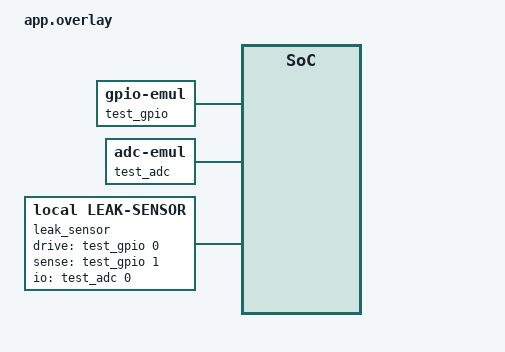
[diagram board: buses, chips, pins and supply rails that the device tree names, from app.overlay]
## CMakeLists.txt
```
# Unit tests for the resistive leak sensor driver (src/sensor/leak.cpp), run on
# native_sim with the emulated ADC/GPIO drivers.
cmake_minimum_required(VERSION 3.20.0)

# Resolve the out-of-tree "local,leak-sensor" binding under hygrometer/dts/bindings.
set(DTS_ROOT ${CMAKE_CURRENT_SOURCE_DIR}/../..)

find_package(Zephyr REQUIRED HINTS $ENV{ZEPHYR_BASE})
project(leak_test)

target_include_directories(app PRIVATE
  ${CMAKE_CURRENT_SOURCE_DIR}/../../src
  ${CMAKE_CURRENT_SOURCE_DIR}/../../src/sensor
)

# Compile the real driver under test (it needs only leak.h / leak_model.h /
# sensor_reading.h — no sensor_reading.cpp).
target_sources(app PRIVATE
  src/main.cpp
  ${CMAKE_CURRENT_SOURCE_DIR}/../../src/sensor/leak.cpp
)
```

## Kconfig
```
# leak.cpp references CONFIG_APP_LEAK_THRESHOLD_MV (normally from hygrometer/Kconfig).
# Provide it here so the driver compiles standalone in the test app.
config APP_LEAK_THRESHOLD_MV
	int
	default 1200

source "Kconfig.zephyr"
```

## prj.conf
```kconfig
CONFIG_ZTEST=y

# Emulated front-end the test drives.
CONFIG_ADC=y
CONFIG_ADC_EMUL=y
CONFIG_GPIO=y
CONFIG_GPIO_EMUL=y

CONFIG_CPP=y
CONFIG_STD_CPP17=y

CONFIG_LOG=y
CONFIG_LOG_MODE_MINIMAL=y
```

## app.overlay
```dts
/*
 * Self-contained emulated leak-sensor front-end for the unit tests. Defines its
 * own adc_emul + gpio_emul controllers (rather than extending a board's nodes)
 * so the suite runs on any platform with the emulators — native_sim (CI) and
 * qemu_x86 (local). leak.cpp binds against these via the leak_sensor node.
 */

#include <zephyr/dt-bindings/adc/adc.h>
#include <zephyr/dt-bindings/gpio/gpio.h>

/ {
	test_gpio: gpio_emul {
		status = "okay";
		compatible = "zephyr,gpio-emul";
		rising-edge;
		falling-edge;
		high-level;
		low-level;
		gpio-controller;
		#gpio-cells = <2>;
	};

	test_adc: adc_emul {
		status = "okay";
		compatible = "zephyr,adc-emul";
		nchannels = <1>;
		ref-internal-mv = <3300>;
		#io-channel-cells = <1>;
		#address-cells = <1>;
		#size-cells = <0>;

		channel@0 {
			reg = <0>;
			zephyr,gain = "ADC_GAIN_1";
			zephyr,reference = "ADC_REF_INTERNAL";
			zephyr,acquisition-time = <ADC_ACQ_TIME_DEFAULT>;
			zephyr,resolution = <12>;
		};
	};

	leak_sensor: leak-sensor {
		compatible = "local,leak-sensor";
		drive-gpios = <&test_gpio 0 GPIO_ACTIVE_HIGH>;
		sense-gpios = <&test_gpio 1 GPIO_ACTIVE_HIGH>;
		io-channels = <&test_adc 0>;
	};
};
```

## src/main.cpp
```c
/*
 * Unit tests for the resistive leak sensor driver (src/sensor/leak.cpp).
 *
 * Runs on native_sim with the emulated ADC (adc_emul) and GPIO (gpio_emul)
 * drivers, so the real leak_init()/leak_read() are exercised end to end: a
 * sensed voltage is injected on the ADC, then the wet/dry decision, the
 * drive-pin state (held active when dry vs parked low when wet) and the
 * wake-interrupt behaviour are checked against the actual driver. A handful of
 * cheaper asserts cover the pure model in leak_model.h directly.
 */

#include <zephyr/ztest.h>
#include <zephyr/device.h>
#include <zephyr/drivers/adc.h>
#include <zephyr/drivers/adc/adc_emul.h>
#include <zephyr/drivers/gpio.h>
#include <zephyr/drivers/gpio/gpio_emul.h>
#include <zephyr/kernel.h>
#include <zephyr/sys/util.h>

#include "leak.h"
#include "leak_model.h"

#define LEAK_NODE DT_NODELABEL(leak_sensor)

static const struct gpio_dt_spec t_drive = GPIO_DT_SPEC_GET(LEAK_NODE, drive_gpios);
static const struct gpio_dt_spec t_sense = GPIO_DT_SPEC_GET(LEAK_NODE, sense_gpios);
static const struct adc_dt_spec t_adc = ADC_DT_SPEC_GET(LEAK_NODE);

static K_SEM_DEFINE(wake_sem, 0, 1);
static sensor_state state;

/* Inject a sensed voltage (mV) on the emulated ADC and run one read cycle. */
static int sample_at(int mv)
{
	zassert_ok(adc_emul_const_value_set(t_adc.dev, t_adc.channel_id, mv), "adc_emul set %d mV",
		   mv);
	return leak_read(state);
}

/* Physical level driven onto the drive electrode (active-high). */
static int drive_level(void)
{
	return gpio_emul_output_get(t_drive.port, t_drive.pin);
}

/* Produce a clean rising edge on the sense line. */
static void pulse_sense(void)
{
	gpio_emul_input_set(t_sense.port, t_sense.pin, 0);
	k_sem_reset(&wake_sem);
	gpio_emul_input_set(t_sense.port, t_sense.pin, 1);
}

static void *leak_setup(void)
{
	state = sensor_state{};
	leak_init(state, &wake_sem);
	zassert_true(state.have_leak, "leak_init should mark the sensor present");
	return NULL;
}

ZTEST_SUITE(leak, NULL, leak_setup, NULL, NULL, NULL);

/* ---- Real driver via emulated ADC/GPIO ---- */

ZTEST(leak, test_wet_sample_parks_drive)
{
	zassert_ok(sample_at(1490));
	zassert_true(state.leak.valid);
	zassert_true(state.leak.wet, "1490 mV is above the 1200 mV threshold");
	zassert_equal(drive_level(), 0, "drive must be parked low while wet");
}

ZTEST(leak, test_dry_sample_holds_drive)
{
	zassert_ok(sample_at(100));
	zassert_true(state.leak.valid);
	zassert_false(state.leak.wet, "100 mV is well below threshold");
	zassert_equal(drive_level(), 1, "drive must be held active while dry");
}

ZTEST(leak, test_threshold_decision)
{
	zassert_ok(sample_at(1250));
	zassert_true(state.leak.wet, "just above threshold -> wet");

	zassert_ok(sample_at(1150));
	zassert_false(state.leak.wet, "just below threshold -> dry");
}

ZTEST(leak, test_wake_fires_when_dry)
{
	/* A dry read leaves the drive active and the edge interrupt armed. */
	zassert_ok(sample_at(100));

	pulse_sense();
	zassert_ok(k_sem_take(&wake_sem, K_NO_WAIT), "armed sense edge should wake");
}

ZTEST(leak, test_wake_suppressed_when_wet)
{
	/* A wet read parks the drive and disables the edge interrupt. */
	zassert_ok(sample_at(1490));

	pulse_sense();
	zassert_not_equal(k_sem_take(&wake_sem, K_NO_WAIT), 0,
			  "wet/parked state must not wake on a sense edge");
}

/* ---- Pure model (leak_model.h), no hardware ---- */

ZTEST(leak, test_divider_math)
{
	zassert_within(leak_sense_mv(1000000, 3000), 1485, 5, "1 Mohm at 3.0 V should be ~1.49 V");
	zassert_equal(leak_water_ohm(0, 3000), INT32_MAX, "0 mV reads as open");

	const int32_t rs[] = {200000, 500000, 1000000, 1500000};
	for (size_t i = 0; i < ARRAY_SIZE(rs); i++) {
		int32_t v = leak_sense_mv(rs[i], 3000);
		int32_t r = leak_water_ohm(v, 3000);
		zassert_within(r, rs[i], rs[i] / 100 + 1000, "round-trip R=%d -> %d mV -> %d ohm",
			       rs[i], v, r);
	}
}

ZTEST(leak, test_one_megaohm_trips_default)
{
	int32_t v = leak_sense_mv(1000000, 3000);
	zassert_true(leak_is_wet(v, 1200), "1 Mohm (=%d mV) must trip the 1200 mV default", v);
}

ZTEST(leak, test_log_on_change_only)
{
	zassert_true(leak_decide(1490, 1200, false).log_change, "dry->wet logs");
	zassert_false(leak_decide(1490, 1200, true).log_change, "wet->wet silent");
	zassert_true(leak_decide(100, 1200, true).log_change, "wet->dry logs");
	zassert_false(leak_decide(100, 1200, false).log_change, "dry->dry silent");
	zassert_true(leak_decide(1490, 1200, false).wet);
	zassert_false(leak_decide(100, 1200, false).wet);
}
```
